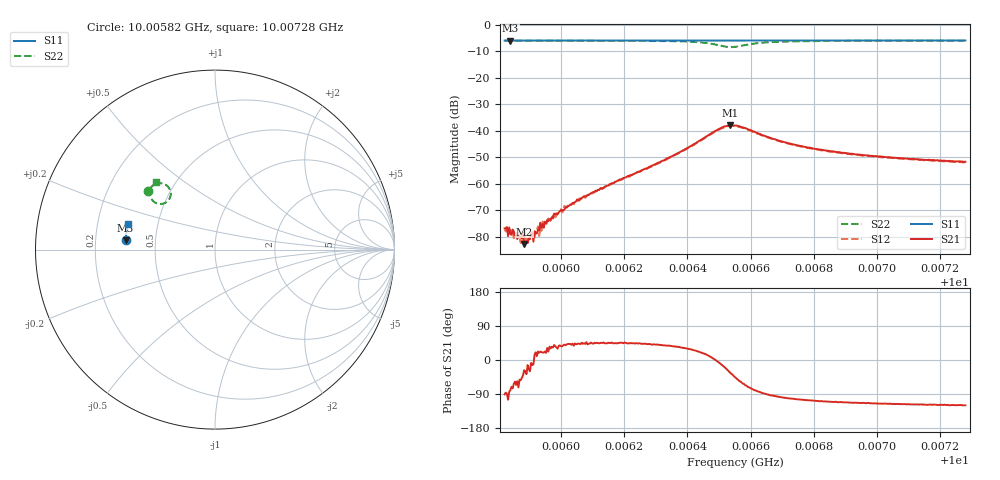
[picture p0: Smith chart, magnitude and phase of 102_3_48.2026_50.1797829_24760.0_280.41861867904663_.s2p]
#  HZ  S  RI  R  50.00
! Rohde & Schwarz Vector Network Analyzer
! Rohde-Schwarz,ZNB20-2Port,1311601062101988,3.16
! Created: UTC 3/20/2024, 11:40:39 AM
! freq[Hz]  re:S11  im:S11  re:S21  im:S21  re:S12  im:S12  re:S22  im:S22
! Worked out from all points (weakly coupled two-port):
!   401 points, 10.00582 GHz to 10.00728 GHz, reference 50 ohm
!   highest |S21| = -37.84 dB at 10.00654 GHz (marker M1); lowest = -82.7 dB at 10.00588 GHz (marker M2)
!   lowest |S11| = -6.0 dB at 10.00584 GHz (marker M3), VSWR 3.01, Z = 16.7 + j2.32 ohm
!   |S11| at or under -10 dB: nowhere
!   |S22| runs from -8.5 to -6.0 dB; largest |S21 - S12| = 0.00083
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1.0005821e10  -0.4986 0.051  -1.54e-06 -0.000145  3.52e-06 -0.000138  -0.3755 0.3269
1.000584e10  -0.4985 0.0521  2.04e-05 -0.000112  1.79e-05 -0.000123  -0.3746 0.3279
1.0005843e10  -0.4985 0.0524  3.64e-05 -0.000104  3.23e-05 -0.000135  -0.3743 0.3281
1.0005869e10  -0.4984 0.0541  6.05e-05 -7.66e-05  6.32e-05 -7.41e-05  -0.3731 0.3299
1.0005883e10  -0.4983 0.0551  6.56e-05 -3.34e-05  5.98e-05 -3.06e-05  -0.3722 0.3308
1.0005894e10  -0.4983 0.0558  7.43e-05 -1.78e-05  9.4e-05 -3.85e-05  -0.3716 0.3316
1.0005909e10  -0.4983 0.0567  0.000119 -2.79e-05  9.55e-05 -3.93e-06  -0.3709 0.3325
1.000592e10  -0.4982 0.0575  0.00011 4.05e-05  0.000134 -4.16e-06  -0.3703 0.3331
1.0005942e10  -0.4981 0.0589  0.000164 5.88e-05  0.000177 8.21e-05  -0.3689 0.3344
1.0005982e10  -0.4978 0.0615  0.000216 0.000159  0.000192 0.000134  -0.3664 0.3372
1.0006018e10  -0.4975 0.0638  0.00027 0.000236  0.00028 0.000236  -0.3642 0.3398
1.0006066e10  -0.4972 0.067  0.000379 0.000389  0.000363 0.000389  -0.3607 0.3431
1.000631e10  -0.4951 0.0828  0.00193 0.00163  0.00182 0.00167  -0.3331 0.3633
1.0006456e10  -0.4933 0.0922  0.00729 0.00204  0.00698 0.00231  -0.2753 0.3616
1.0006507e10  -0.4922 0.0953  0.0112 -0.00229  0.0109 -0.00165  -0.2466 0.315
1.0006536e10  -0.4919 0.0965  0.0106 -0.00721  0.0106 -0.00638  -0.2617 0.2724
1.0006551e10  -0.492 0.0973  0.00886 -0.00889  0.00905 -0.00836  -0.2808 0.2588
1.0006631e10  -0.4918 0.1022  0.000779 -0.00867  0.00102 -0.00838  -0.3544 0.2843
1.0006704e10  -0.4912 0.107  -0.001 -0.00611  -0.000674 -0.00603  -0.3615 0.3149
1.0006795e10  -0.4902 0.1131  -0.00137 -0.00449  -0.00115 -0.00446  -0.3575 0.3355
1.0007039e10  -0.487 0.1285  -0.00137 -0.00289  -0.00124 -0.00285  -0.3422 0.3618
1.000728e10  -0.4833 0.1436  -0.00129 -0.00228  -0.00117 -0.00228  -0.3288 0.3776
